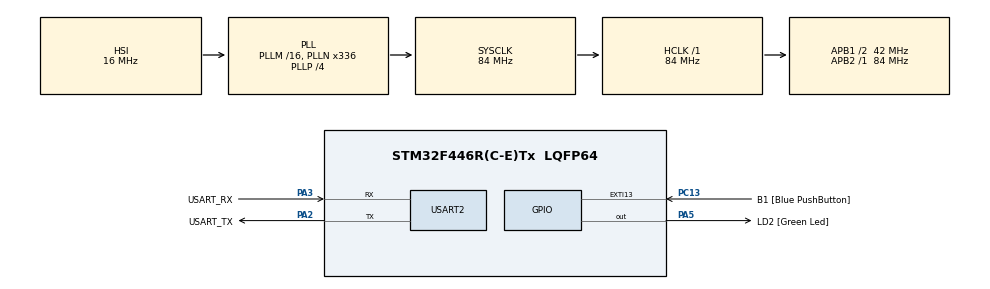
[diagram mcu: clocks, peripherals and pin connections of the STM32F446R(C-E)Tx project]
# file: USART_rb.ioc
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Mcu.Family=STM32F4
Mcu.Name=STM32F446R(C-E)Tx
Mcu.Package=LQFP64
NVIC.PriorityGroup=NVIC_PRIORITYGROUP_0
NVIC.USART2_IRQn=true\:0\:0\:false\:false\:true\:true\:false\:true
PA13.GPIO_Label=TMS
PA13.Mode=Serial_Wire
PA13.Signal=SYS_JTMS-SWDIO
PA14.GPIO_Label=TCK
PA14.Mode=Serial_Wire
PA14.Signal=SYS_JTCK-SWCLK
PA2.GPIO_Label=USART_TX
PA2.Mode=Asynchronous
PA2.Signal=USART2_TX
PA3.GPIO_Label=USART_RX
PA3.Mode=Asynchronous
PA3.Signal=USART2_RX
PA5.GPIO_Label=LD2 [Green Led]
PA5.Signal=GPIO_Output
PB3.GPIO_Label=SWO
PB3.Signal=SYS_JTDO-SWO
PC13.GPIO_Label=B1 [Blue PushButton]
PC13.GPIO_ModeDefaultEXTI=GPIO_MODE_IT_FALLING
PC13.Signal=GPXTI13
PC14-OSC32_IN.Signal=RCC_OSC32_IN
PC15-OSC32_OUT.Signal=RCC_OSC32_OUT
PH0-OSC_IN.Signal=RCC_OSC_IN
PH1-OSC_OUT.Signal=RCC_OSC_OUT
ProjectManager.HeapSize=0x200
ProjectManager.StackSize=0x400
ProjectManager.TargetToolchain=STM32CubeIDE
RCC.48MHZClocksFreq_Value=84000000
RCC.AHBFreq_Value=84000000
RCC.APB1CLKDivider=RCC_HCLK_DIV2
RCC.APB1Freq_Value=42000000
RCC.APB1TimFreq_Value=84000000
RCC.APB2Freq_Value=84000000
RCC.APB2TimFreq_Value=84000000
RCC.CortexFreq_Value=84000000
RCC.FLatency-AdvancedSettings=FLASH_LATENCY_2
RCC.HCLKFreq_Value=84000000
RCC.HSE_VALUE=8000000
RCC.HSI_VALUE=16000000
RCC.PLLN=336
RCC.PLLP=RCC_PLLP_DIV4
RCC.SYSCLKFreq_VALUE=84000000
RCC.SYSCLKSource=RCC_SYSCLKSOURCE_PLLCLK
RCC.USBFreq_Value=168000000
RCC.VCOOutputFreq_Value=336000000
USART2.VirtualMode=VM_ASYNC
board=NUCLEO-F446RE

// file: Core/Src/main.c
/* USER CODE BEGIN Header */
/**
  ******************************************************************************
  * @file           : main.c
  * @brief          : Main program body
  ******************************************************************************
  * @attention
  *
  * Copyright (c) 2026 STMicroelectronics.
  * All rights reserved.
  *
  * This software is licensed under terms that can be found in the LICENSE file
  * in the root directory of this software component.
  * If no LICENSE file comes with this software, it is provided AS-IS.
  *
  ******************************************************************************
  */
/* USER CODE END Header */
#include "main.h"

/* USER CODE BEGIN Includes */
#include"rb.h"
/* USER CODE END Includes */

UART_HandleTypeDef huart2;

/* USER CODE BEGIN PV */
 RingFifo_t gtUart2Fifo;
/* USER CODE END PV */

void SystemClock_Config(void);
static void MX_GPIO_Init(void);
static void MX_USART2_UART_Init(void);

/* USER CODE BEGIN 0 */
#ifdef __GNUC__
#define PUTCHAR_PROTOTYPE int __io_putchar(int ch)
#else
#define PUTCHAR_PROTOTYPE int fputc(int ch, FILE *f)
#endif

PUTCHAR_PROTOTYPE
{
   if(ch == '\n')
       HAL_UART_Transmit (&huart2, (uint8_t*) "\r", 1, 0xFFFF);
   HAL_UART_Transmit (&huart2, (uint8_t*) &ch, 1, 0xFFFF);

   return ch;
}
/* USER CODE END 0 */

int main(void)
{

  /* MCU Configuration--------------------------------------------------------*/

  /* Reset of all peripherals, Initializes the Flash interface and the Systick. */
  HAL_Init();

  /* Configure the system clock */
  SystemClock_Config();

  /* Initialize all configured peripherals */
  MX_GPIO_Init();
  MX_USART2_UART_Init();
  /* USER CODE BEGIN 2 */
__HAL_UART_ENABLE_IT(&huart2, UART_IT_RXNE);
	if(RB_init(&gtUart2Fifo, 16))
	{

	}
  /* USER CODE END 2 */

  /* Infinite loop */
  /* USER CODE BEGIN WHILE */
  uint8_t ch;
  while (1)
  {
    /* USER CODE END WHILE */
if(!RB_isempty (&gtUart2Fifo))
	{
	ch=RB_read(&gtUart2Fifo);
	HAL_UART_Transmit (&huart2, &ch, 1, 0xFF);
	}
  }
}

void SystemClock_Config(void)
{
  RCC_OscInitTypeDef RCC_OscInitStruct = {0};
  RCC_ClkInitTypeDef RCC_ClkInitStruct = {0};

  /** Configure the main internal regulator output voltage
  */
  __HAL_RCC_PWR_CLK_ENABLE();
  __HAL_PWR_VOLTAGESCALING_CONFIG(PWR_REGULATOR_VOLTAGE_SCALE3);

  /** Initializes the RCC Oscillators according to the specified parameters
  * in the RCC_OscInitTypeDef structure.
  */
  RCC_OscInitStruct.OscillatorType = RCC_OSCILLATORTYPE_HSI;
  RCC_OscInitStruct.HSIState = RCC_HSI_ON;
  RCC_OscInitStruct.HSICalibrationValue = RCC_HSICALIBRATION_DEFAULT;
  RCC_OscInitStruct.PLL.PLLState = RCC_PLL_ON;
  RCC_OscInitStruct.PLL.PLLSource = RCC_PLLSOURCE_HSI;
  RCC_OscInitStruct.PLL.PLLM = 16;
  RCC_OscInitStruct.PLL.PLLN = 336;
  RCC_OscInitStruct.PLL.PLLP = RCC_PLLP_DIV4;
  RCC_OscInitStruct.PLL.PLLQ = 2;
  RCC_OscInitStruct.PLL.PLLR = 2;
  if (HAL_RCC_OscConfig(&RCC_OscInitStruct) != HAL_OK)
  {
    Error_Handler();
  }

  /** Initializes the CPU, AHB and APB buses clocks
  */
  RCC_ClkInitStruct.ClockType = RCC_CLOCKTYPE_HCLK|RCC_CLOCKTYPE_SYSCLK
                              |RCC_CLOCKTYPE_PCLK1|RCC_CLOCKTYPE_PCLK2;
  RCC_ClkInitStruct.SYSCLKSource = RCC_SYSCLKSOURCE_PLLCLK;
  RCC_ClkInitStruct.AHBCLKDivider = RCC_SYSCLK_DIV1;
  RCC_ClkInitStruct.APB1CLKDivider = RCC_HCLK_DIV2;
  RCC_ClkInitStruct.APB2CLKDivider = RCC_HCLK_DIV1;

  if (HAL_RCC_ClockConfig(&RCC_ClkInitStruct, FLASH_LATENCY_2) != HAL_OK)
  {
    Error_Handler();
  }
}

static void MX_USART2_UART_Init(void)
{

  huart2.Instance = USART2;
  huart2.Init.BaudRate = 115200;
  huart2.Init.WordLength = UART_WORDLENGTH_8B;
  huart2.Init.StopBits = UART_STOPBITS_1;
  huart2.Init.Parity = UART_PARITY_NONE;
  huart2.Init.Mode = UART_MODE_TX_RX;
  huart2.Init.HwFlowCtl = UART_HWCONTROL_NONE;
  huart2.Init.OverSampling = UART_OVERSAMPLING_16;
  if (HAL_UART_Init(&huart2) != HAL_OK)
  {
    Error_Handler();
  }

}

static void MX_GPIO_Init(void)
{
  GPIO_InitTypeDef GPIO_InitStruct = {0};

  /* GPIO Ports Clock Enable */
  __HAL_RCC_GPIOC_CLK_ENABLE();
  __HAL_RCC_GPIOH_CLK_ENABLE();
  __HAL_RCC_GPIOA_CLK_ENABLE();
  __HAL_RCC_GPIOB_CLK_ENABLE();

  /*Configure GPIO pin Output Level */
  HAL_GPIO_WritePin(LD2_GPIO_Port, LD2_Pin, GPIO_PIN_RESET);

  /*Configure GPIO pin : B1_Pin */
  GPIO_InitStruct.Pin = B1_Pin;
  GPIO_InitStruct.Mode = GPIO_MODE_IT_FALLING;
  GPIO_InitStruct.Pull = GPIO_NOPULL;
  HAL_GPIO_Init(B1_GPIO_Port, &GPIO_InitStruct);

  /*Configure GPIO pin : LD2_Pin */
  GPIO_InitStruct.Pin = LD2_Pin;
  GPIO_InitStruct.Mode = GPIO_MODE_OUTPUT_PP;
  GPIO_InitStruct.Pull = GPIO_NOPULL;
  GPIO_InitStruct.Speed = GPIO_SPEED_FREQ_LOW;
  HAL_GPIO_Init(LD2_GPIO_Port, &GPIO_InitStruct);

}

/* USER CODE BEGIN 4 */
void
HAL_UART_RxCpltCallback(UART_HandleTypeDef*UartHandle){
	uint8_t rx;

	if(UartHandle->Instance==USART2)
	{
		rx=(uint8_t)(UartHandle->Instance->DR&(uint8_t) 0x00FF);
		RB_write (&gtUart2Fifo, rx);
	}

}
/* USER CODE END 4 */

void Error_Handler(void)
{
  __disable_irq();
  while (1)
  {
  }
}
